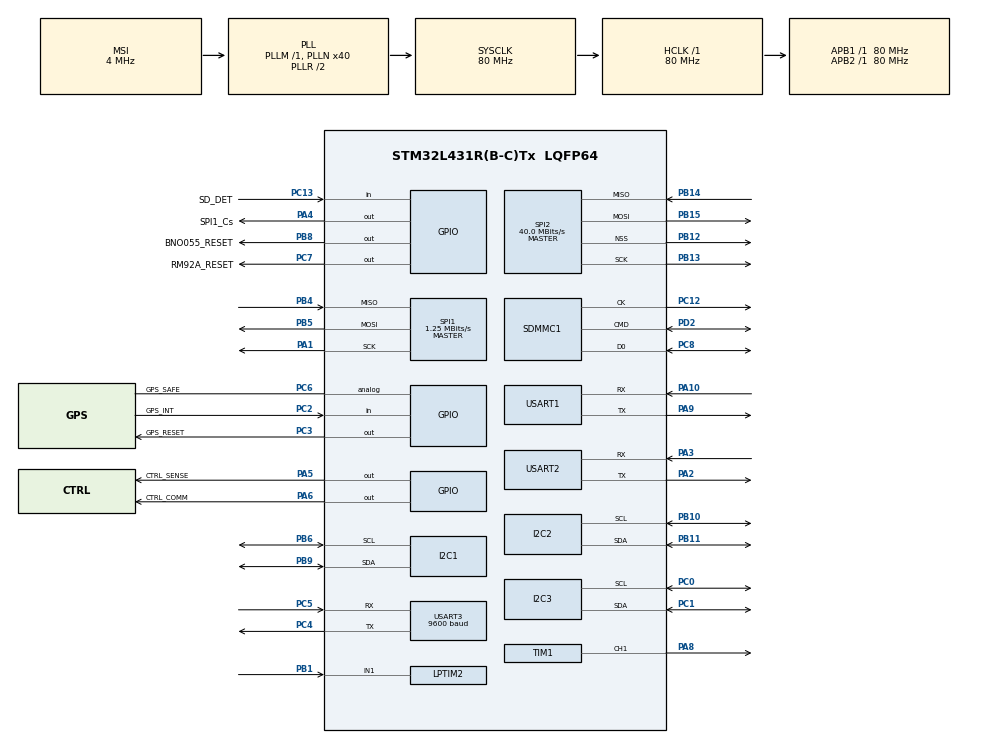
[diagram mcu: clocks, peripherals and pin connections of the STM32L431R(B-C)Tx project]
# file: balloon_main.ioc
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Dma.I2C1_RX.2.Direction=DMA_PERIPH_TO_MEMORY
Dma.I2C1_RX.2.Instance=DMA1_Channel7
Dma.I2C1_RX.2.MemDataAlignment=DMA_MDATAALIGN_BYTE
Dma.I2C1_RX.2.MemInc=DMA_MINC_ENABLE
Dma.I2C1_RX.2.Mode=DMA_NORMAL
Dma.I2C1_RX.2.PeriphDataAlignment=DMA_PDATAALIGN_BYTE
Dma.I2C1_RX.2.PeriphInc=DMA_PINC_DISABLE
Dma.I2C1_RX.2.Priority=DMA_PRIORITY_LOW
Dma.I2C1_TX.3.Direction=DMA_MEMORY_TO_PERIPH
Dma.I2C1_TX.3.Instance=DMA1_Channel6
Dma.I2C1_TX.3.MemDataAlignment=DMA_MDATAALIGN_BYTE
Dma.I2C1_TX.3.MemInc=DMA_MINC_ENABLE
Dma.I2C1_TX.3.Mode=DMA_NORMAL
Dma.I2C1_TX.3.PeriphDataAlignment=DMA_PDATAALIGN_BYTE
Dma.I2C1_TX.3.PeriphInc=DMA_PINC_DISABLE
Dma.I2C1_TX.3.Priority=DMA_PRIORITY_LOW
Dma.Request0=USART1_RX
Dma.Request1=USART1_TX
Dma.Request2=I2C1_RX
Dma.Request3=I2C1_TX
Dma.Request4=TIM1_CH1
Dma.Request5=USART3_RX
Dma.Request6=SDMMC1
Dma.SDMMC1.6.Direction=DMA_PERIPH_TO_MEMORY
Dma.SDMMC1.6.Instance=DMA2_Channel4
Dma.SDMMC1.6.MemDataAlignment=DMA_MDATAALIGN_WORD
Dma.SDMMC1.6.MemInc=DMA_MINC_ENABLE
Dma.SDMMC1.6.Mode=DMA_NORMAL
Dma.SDMMC1.6.PeriphDataAlignment=DMA_PDATAALIGN_WORD
Dma.SDMMC1.6.PeriphInc=DMA_PINC_DISABLE
Dma.SDMMC1.6.Priority=DMA_PRIORITY_HIGH
Dma.TIM1_CH1.4.Direction=DMA_PERIPH_TO_MEMORY
Dma.TIM1_CH1.4.Instance=DMA1_Channel2
Dma.TIM1_CH1.4.MemDataAlignment=DMA_MDATAALIGN_BYTE
Dma.TIM1_CH1.4.MemInc=DMA_MINC_ENABLE
Dma.TIM1_CH1.4.Mode=DMA_CIRCULAR
Dma.TIM1_CH1.4.PeriphDataAlignment=DMA_PDATAALIGN_HALFWORD
Dma.TIM1_CH1.4.PeriphInc=DMA_PINC_DISABLE
Dma.TIM1_CH1.4.Priority=DMA_PRIORITY_LOW
Dma.USART1_RX.0.Direction=DMA_PERIPH_TO_MEMORY
Dma.USART1_RX.0.Instance=DMA1_Channel5
Dma.USART1_RX.0.MemDataAlignment=DMA_MDATAALIGN_BYTE
Dma.USART1_RX.0.MemInc=DMA_MINC_ENABLE
Dma.USART1_RX.0.Mode=DMA_NORMAL
Dma.USART1_RX.0.PeriphDataAlignment=DMA_PDATAALIGN_BYTE
Dma.USART1_RX.0.PeriphInc=DMA_PINC_DISABLE
Dma.USART1_RX.0.Priority=DMA_PRIORITY_LOW
Dma.USART1_TX.1.Direction=DMA_MEMORY_TO_PERIPH
Dma.USART1_TX.1.Instance=DMA1_Channel4
Dma.USART1_TX.1.MemDataAlignment=DMA_MDATAALIGN_BYTE
Dma.USART1_TX.1.MemInc=DMA_MINC_ENABLE
Dma.USART1_TX.1.Mode=DMA_NORMAL
Dma.USART1_TX.1.PeriphDataAlignment=DMA_PDATAALIGN_BYTE
Dma.USART1_TX.1.PeriphInc=DMA_PINC_DISABLE
Dma.USART1_TX.1.Priority=DMA_PRIORITY_LOW
Dma.USART3_RX.5.Direction=DMA_PERIPH_TO_MEMORY
Dma.USART3_RX.5.Instance=DMA1_Channel3
Dma.USART3_RX.5.MemDataAlignment=DMA_MDATAALIGN_BYTE
Dma.USART3_RX.5.MemInc=DMA_MINC_ENABLE
Dma.USART3_RX.5.Mode=DMA_NORMAL
Dma.USART3_RX.5.PeriphDataAlignment=DMA_PDATAALIGN_BYTE
Dma.USART3_RX.5.PeriphInc=DMA_PINC_DISABLE
Dma.USART3_RX.5.Priority=DMA_PRIORITY_LOW
FATFS._CODE_PAGE=1
FATFS._FS_REENTRANT=0
FATFS._MAX_SS=4096
FATFS._MIN_SS=512
FATFS._USE_LFN=0
FATFS._USE_MUTEX=0
FREERTOS.HEAP_NUMBER=1
FREERTOS.Queues01=messageHandlerQueue1,64,uint8_t,0,Dynamic,NULL,NULL;messageHandlerQueue2,64,uint8_t,0,Dynamic,NULL,NULL;messageHandlerQueue3,64,uint8_t,0,Dynamic,NULL,NULL
FREERTOS.Tasks01=mainTask,24,128,StartMainTask,Default,NULL,Dynamic,NULL,NULL;saveFile,8,256,SaveFile,Default,NULL,Dynamic,NULL,NULL;downLink,8,128,DownLink,Default,NULL,Dynamic,NULL,NULL
FREERTOS.configCHECK_FOR_STACK_OVERFLOW=2
FREERTOS.configENABLE_FPU=1
FREERTOS.configTOTAL_HEAP_SIZE=8192
FREERTOS.configUSE_MALLOC_FAILED_HOOK=1
FREERTOS.configUSE_NEWLIB_REENTRANT=1
I2C1.Timing=0x10909CEC
I2C2.Timing=0x10909CEC
I2C3.Timing=0x10909CEC
Mcu.Family=STM32L4
Mcu.Name=STM32L431R(B-C)Tx
Mcu.Package=LQFP64
NVIC.DMA1_Channel2_IRQn=true\:5\:0\:false\:false\:true\:true\:false\:true\:true
NVIC.DMA1_Channel3_IRQn=true\:5\:0\:false\:false\:true\:true\:false\:true\:true
NVIC.DMA1_Channel4_IRQn=true\:5\:0\:false\:false\:true\:true\:false\:true\:true
NVIC.DMA1_Channel5_IRQn=true\:5\:0\:false\:false\:true\:true\:false\:true\:true
NVIC.DMA1_Channel6_IRQn=true\:5\:0\:false\:false\:true\:false\:false\:true\:true
NVIC.DMA1_Channel7_IRQn=true\:5\:0\:false\:false\:true\:false\:false\:true\:true
NVIC.DMA2_Channel4_IRQn=true\:5\:0\:false\:false\:true\:true\:false\:true\:true
NVIC.I2C1_ER_IRQn=true\:5\:0\:false\:false\:true\:true\:true\:true\:true
NVIC.PriorityGroup=NVIC_PRIORITYGROUP_4
NVIC.SDMMC1_IRQn=true\:5\:0\:true\:false\:true\:true\:true\:true\:true
NVIC.TIM6_DAC_IRQn=true\:15\:0\:false\:false\:true\:false\:false\:true\:true
NVIC.TimeBase=TIM6_DAC_IRQn
NVIC.TimeBaseIP=TIM6
NVIC.USART1_IRQn=true\:5\:0\:false\:false\:true\:true\:true\:true\:true
NVIC.USART2_IRQn=true\:5\:0\:false\:false\:true\:true\:true\:true\:true
NVIC.USART3_IRQn=true\:5\:0\:false\:false\:true\:true\:true\:true\:true
PA1.GPIO_PuPd=GPIO_PULLUP
PA1.Mode=Full_Duplex_Master
PA1.Signal=SPI1_SCK
PA10.Mode=Asynchronous
PA10.Signal=USART1_RX
PA11.Signal=USART1_CTS
PA12.Signal=USART1_RTS
PA13\ (JTMS-SWDIO).Mode=Trace_Asynchronous_SW
PA13\ (JTMS-SWDIO).Signal=SYS_JTMS-SWDIO
PA14\ (JTCK-SWCLK).Mode=Trace_Asynchronous_SW
PA14\ (JTCK-SWCLK).Signal=SYS_JTCK-SWCLK
PA2.Mode=Asynchronous
PA2.Signal=USART2_TX
PA3.Mode=Asynchronous
PA3.Signal=USART2_RX
PA4.GPIO_Label=SPI1_Cs
PA4.Signal=GPIO_Output
PA5.GPIO_Label=CTRL_SENSE
PA5.Signal=GPIO_Output
PA6.GPIO_Label=CTRL_COMM
PA6.Signal=GPIO_Output
PA8.GPIO_Speed=GPIO_SPEED_FREQ_HIGH
PA8.Signal=S_TIM1_CH1
PA9.Mode=Asynchronous
PA9.Signal=USART1_TX
PB1.Mode=Counts_external_clock_standalone_1X_occur1
PB1.Signal=LPTIM2_IN1
PB10.Mode=I2C
PB10.Signal=I2C2_SCL
PB11.Mode=I2C
PB11.Signal=I2C2_SDA
PB12.Mode=NSS_Signal_Hard_Output
PB12.Signal=SPI2_NSS
PB13.Mode=Full_Duplex_Master
PB13.Signal=SPI2_SCK
PB14.Mode=Full_Duplex_Master
PB14.Signal=SPI2_MISO
PB15.Mode=Full_Duplex_Master
PB15.Signal=SPI2_MOSI
PB3\ (JTDO-TRACESWO).Mode=Trace_Asynchronous_SW
PB3\ (JTDO-TRACESWO).Signal=SYS_JTDO-SWO
PB4\ (NJTRST).GPIO_PuPd=GPIO_PULLUP
PB4\ (NJTRST).Mode=Full_Duplex_Master
PB4\ (NJTRST).Signal=SPI1_MISO
PB5.GPIO_PuPd=GPIO_PULLUP
PB5.Mode=Full_Duplex_Master
PB5.Signal=SPI1_MOSI
PB6.Mode=I2C
PB6.Signal=I2C1_SCL
PB8.GPIO_Label=BNO055_RESET
PB8.Signal=GPIO_Output
PB9.Mode=I2C
PB9.Signal=I2C1_SDA
PC0.Mode=I2C
PC0.Signal=I2C3_SCL
PC1.Mode=I2C
PC1.Signal=I2C3_SDA
PC10.Signal=SDMMC1_D2
PC11.Signal=SDMMC1_D3
PC12.Mode=SD_1_bit
PC12.Signal=SDMMC1_CK
PC13.GPIO_Label=SD_DET
PC13.Signal=GPIO_Input
PC14-OSC32_IN\ (PC14).Signal=RCC_OSC32_IN
PC15-OSC32_OUT\ (PC15).Signal=RCC_OSC32_OUT
PC2.GPIO_Label=GPS_INT
PC2.Signal=GPIO_Input
PC3.GPIO_Label=GPS_RESET
PC3.Signal=GPIO_Output
PC4.Mode=Asynchronous
PC4.Signal=USART3_TX
PC5.Mode=Asynchronous
PC5.Signal=USART3_RX
PC6.GPIO_Label=GPS_SAFE
PC6.Signal=GPIO_Analog
PC7.GPIO_Label=RM92A_RESET
PC7.Signal=GPIO_Output
PC8.Mode=SD_1_bit
PC8.Signal=SDMMC1_D0
PC9.Signal=SDMMC1_D1
PD2.Mode=SD_1_bit
PD2.Signal=SDMMC1_CMD
ProjectManager.HeapSize=0x400
ProjectManager.StackSize=0x800
ProjectManager.TargetToolchain=STM32CubeIDE
RCC.ADCFreq_Value=32000000
RCC.AHBFreq_Value=80000000
RCC.APB1Freq_Value=80000000
RCC.APB1TimFreq_Value=80000000
RCC.APB2Freq_Value=80000000
RCC.APB2TimFreq_Value=80000000
RCC.CK48CLockSelection=RCC_USBCLKSOURCE_HSI48
RCC.CortexFreq_Value=80000000
RCC.HCLKFreq_Value=80000000
RCC.HSE_VALUE=8000000
RCC.HSI48_VALUE=48000000
RCC.HSI_VALUE=16000000
RCC.LPUART1CLockSelection=RCC_LPUART1CLKSOURCE_LSE
RCC.LSE_VALUE=32768
RCC.MSI_VALUE=4000000
RCC.PLLN=40
RCC.PLLSAI1N=16
RCC.SYSCLKFreq_VALUE=80000000
RCC.SYSCLKSource=RCC_SYSCLKSOURCE_PLLCLK
RCC.VCOOutputFreq_Value=160000000
RTC.Alarm-Alarm\ A=RTC_ALARM_A
SDMMC1.ClockDiv=128
SH.S_TIM1_CH1.0=TIM1_CH1,PWM Generation1 CH1
SPI1.BaudRatePrescaler=SPI_BAUDRATEPRESCALER_64
SPI1.CLKPhase=SPI_PHASE_2EDGE
SPI1.CLKPolarity=SPI_POLARITY_HIGH
SPI1.CalculateBaudRate=1.25 MBits/s
SPI1.DataSize=SPI_DATASIZE_8BIT
SPI1.Direction=SPI_DIRECTION_2LINES
SPI1.Mode=SPI_MODE_MASTER
SPI1.VirtualType=VM_MASTER
SPI2.CalculateBaudRate=40.0 MBits/s
SPI2.Direction=SPI_DIRECTION_2LINES
SPI2.Mode=SPI_MODE_MASTER
SPI2.VirtualNSS=VM_NSSHARD
SPI2.VirtualType=VM_MASTER
TIM1.AutoReloadPreload=TIM_AUTORELOAD_PRELOAD_ENABLE
TIM1.Channel-PWM\ Generation1\ CH1=TIM_CHANNEL_1
TIM1.OCFastMode_PWM-PWM\ Generation1\ CH1=TIM_OCFAST_ENABLE
TIM1.Period=32
TIM1.Prescaler=2
TIM1.TIM_MasterOutputTrigger=TIM_TRGO_OC1REF
TIM1.TIM_MasterSlaveMode=TIM_MASTERSLAVEMODE_ENABLE
USART1.VirtualMode-Asynchronous=VM_ASYNC
USART2.VirtualMode-Asynchronous=VM_ASYNC
USART3.AutoBaudRateEnableParam=UART_ADVFEATURE_AUTOBAUDRATE_DISABLE
USART3.BaudRate=9600
USART3.VirtualMode-Asynchronous=VM_ASYNC
VP_CRC_VS_CRC.Mode=CRC_Activate
VP_FATFS_VS_SDIO.Mode=SDIO
VP_FREERTOS_VS_CMSIS_V2.Mode=CMSIS_V2
VP_RTC_VS_RTC_Activate.Mode=RTC_Enabled
VP_RTC_VS_RTC_Alarm_A_Intern.Mode=Alarm A
VP_RTC_VS_RTC_Calendar.Mode=RTC_Calendar
VP_SYS_VS_tim6.Mode=TIM6
VP_TIM1_VS_ClockSourceINT.Mode=Internal
board=custom

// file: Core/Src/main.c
/* USER CODE BEGIN Header */
/**
  ******************************************************************************
  * @file           : main.c
  * @brief          : Main program body
  ******************************************************************************
  * @attention
  *
  * Copyright (c) 2024 STMicroelectronics.
  * All rights reserved.
  *
  * This software is licensed under terms that can be found in the LICENSE file
  * in the root directory of this software component.
  * If no LICENSE file comes with this software, it is provided AS-IS.
  *
  ******************************************************************************
  */
/* USER CODE END Header */
#include "main.h"
#include "cmsis_os.h"
#include "fatfs.h"

/* USER CODE BEGIN Includes */
#include <stdio.h>
#include "neopixel/ARGB.h"
#include "sd/sd.h"
#include "power/power.h"
#include "queue.h"
#include "gnss/gnss.h"
#include "misc.h"
#include "env/env.h"
#include "lora/lora.h"
/* USER CODE END Includes */

/* USER CODE BEGIN PD */
#define SDMMC_DATATIMEOUT 5000
/* USER CODE END PD */

CRC_HandleTypeDef hcrc;

I2C_HandleTypeDef hi2c1;
I2C_HandleTypeDef hi2c2;
I2C_HandleTypeDef hi2c3;
DMA_HandleTypeDef hdma_i2c1_rx;
DMA_HandleTypeDef hdma_i2c1_tx;

LPTIM_HandleTypeDef hlptim2;

RTC_HandleTypeDef hrtc;

SD_HandleTypeDef hsd1;
DMA_HandleTypeDef hdma_sdmmc1;

SPI_HandleTypeDef hspi1;
SPI_HandleTypeDef hspi2;

TIM_HandleTypeDef htim1;
DMA_HandleTypeDef hdma_tim1_ch1;

UART_HandleTypeDef huart1;
UART_HandleTypeDef huart2;
UART_HandleTypeDef huart3;
DMA_HandleTypeDef hdma_usart1_rx;
DMA_HandleTypeDef hdma_usart1_tx;
DMA_HandleTypeDef hdma_usart3_rx;

/* Definitions for mainTask */
osThreadId_t mainTaskHandle;
const osThreadAttr_t mainTask_attributes = {
  .name = "mainTask",
  .stack_size = 128 * 4,
  .priority = (osPriority_t) osPriorityNormal,
};
/* Definitions for saveFile */
osThreadId_t saveFileHandle;
const osThreadAttr_t saveFile_attributes = {
  .name = "saveFile",
  .stack_size = 256 * 4,
  .priority = (osPriority_t) osPriorityLow,
};
/* Definitions for downLink */
osThreadId_t downLinkHandle;
const osThreadAttr_t downLink_attributes = {
  .name = "downLink",
  .stack_size = 128 * 4,
  .priority = (osPriority_t) osPriorityLow,
};
/* Definitions for messageHandlerQueue1 */
osMessageQueueId_t messageHandlerQueue1Handle;
const osMessageQueueAttr_t messageHandlerQueue1_attributes = {
  .name = "messageHandlerQueue1"
};
/* Definitions for messageHandlerQueue2 */
osMessageQueueId_t messageHandlerQueue2Handle;
const osMessageQueueAttr_t messageHandlerQueue2_attributes = {
  .name = "messageHandlerQueue2"
};
/* Definitions for messageHandlerQueue3 */
osMessageQueueId_t messageHandlerQueue3Handle;
const osMessageQueueAttr_t messageHandlerQueue3_attributes = {
  .name = "messageHandlerQueue3"
};
/* USER CODE BEGIN PV */
uint8_t byte_uart_1;
uint8_t byte_uart_2;
uint8_t byte_uart_3;
extern gnss_data_t gnss_data;
extern env_data_t env_data;
/* USER CODE END PV */

void SystemClock_Config(void);
static void MX_GPIO_Init(void);
static void MX_DMA_Init(void);
static void MX_I2C1_Init(void);
static void MX_USART1_UART_Init(void);
static void MX_RTC_Init(void);
static void MX_SDMMC1_SD_Init(void);
static void MX_CRC_Init(void);
static void MX_LPTIM2_Init(void);
static void MX_I2C2_Init(void);
static void MX_I2C3_Init(void);
static void MX_SPI1_Init(void);
static void MX_SPI2_Init(void);
static void MX_TIM1_Init(void);
static void MX_USART3_UART_Init(void);
static void MX_USART2_UART_Init(void);
void StartMainTask(void *argument);
void SaveFile(void *argument);
void DownLink(void *argument);

int main(void)
{

  /* USER CODE BEGIN 1 */
	///setbuf(stdout, NULL);

  /* USER CODE END 1 */

  /* MCU Configuration--------------------------------------------------------*/

  /* Reset of all peripherals, Initializes the Flash interface and the Systick. */
  HAL_Init();

  /* Configure the system clock */
  SystemClock_Config();

  /* Initialize all configured peripherals */
  MX_GPIO_Init();
  MX_DMA_Init();
  MX_I2C1_Init();
  MX_USART1_UART_Init();
  MX_RTC_Init();
  MX_SDMMC1_SD_Init();
  MX_CRC_Init();
  MX_LPTIM2_Init();
  MX_I2C2_Init();
  MX_I2C3_Init();
  MX_SPI1_Init();
  MX_SPI2_Init();
  MX_TIM1_Init();
  MX_FATFS_Init();
  MX_USART3_UART_Init();
  MX_USART2_UART_Init();
  /* USER CODE BEGIN 2 */
  ARGB_Init();  // Initialization
  ARGB_FillRGB(200, 0, 0);
  while (!ARGB_Show());
  reset_sense_power();

  HAL_GPIO_WritePin(GPS_RESET_GPIO_Port, GPS_RESET_Pin, GPIO_PIN_SET);
  printf("Hello World!!\r\n");
  /* USER CODE END 2 */

  /* Init scheduler */
  osKernelInitialize();

  /* Create the queue(s) */
  /* creation of messageHandlerQueue1 */
  messageHandlerQueue1Handle = osMessageQueueNew (64, sizeof(uint8_t), &messageHandlerQueue1_attributes);

  /* creation of messageHandlerQueue2 */
  messageHandlerQueue2Handle = osMessageQueueNew (64, sizeof(uint8_t), &messageHandlerQueue2_attributes);

  /* creation of messageHandlerQueue3 */
  messageHandlerQueue3Handle = osMessageQueueNew (64, sizeof(uint8_t), &messageHandlerQueue3_attributes);

  /* Create the thread(s) */
  /* creation of mainTask */
  mainTaskHandle = osThreadNew(StartMainTask, NULL, &mainTask_attributes);

  /* creation of saveFile */
  saveFileHandle = osThreadNew(SaveFile, NULL, &saveFile_attributes);

  /* creation of downLink */
  downLinkHandle = osThreadNew(DownLink, NULL, &downLink_attributes);

  /* Start scheduler */
  osKernelStart();

  /* We should never get here as control is now taken by the scheduler */

  /* Infinite loop */
  while (1)
  {

  }
}

void SystemClock_Config(void)
{
  RCC_OscInitTypeDef RCC_OscInitStruct = {0};
  RCC_ClkInitTypeDef RCC_ClkInitStruct = {0};

  /** Configure the main internal regulator output voltage
  */
  if (HAL_PWREx_ControlVoltageScaling(PWR_REGULATOR_VOLTAGE_SCALE1) != HAL_OK)
  {
    Error_Handler();
  }

  /** Initializes the RCC Oscillators according to the specified parameters
  * in the RCC_OscInitTypeDef structure.
  */
  RCC_OscInitStruct.OscillatorType = RCC_OSCILLATORTYPE_HSI48|RCC_OSCILLATORTYPE_LSI
                              |RCC_OSCILLATORTYPE_MSI;
  RCC_OscInitStruct.HSI48State = RCC_HSI48_ON;
  RCC_OscInitStruct.LSIState = RCC_LSI_ON;
  RCC_OscInitStruct.MSIState = RCC_MSI_ON;
  RCC_OscInitStruct.MSICalibrationValue = 0;
  RCC_OscInitStruct.MSIClockRange = RCC_MSIRANGE_6;
  RCC_OscInitStruct.PLL.PLLState = RCC_PLL_ON;
  RCC_OscInitStruct.PLL.PLLSource = RCC_PLLSOURCE_MSI;
  RCC_OscInitStruct.PLL.PLLM = 1;
  RCC_OscInitStruct.PLL.PLLN = 40;
  RCC_OscInitStruct.PLL.PLLP = RCC_PLLP_DIV7;
  RCC_OscInitStruct.PLL.PLLQ = RCC_PLLQ_DIV2;
  RCC_OscInitStruct.PLL.PLLR = RCC_PLLR_DIV2;
  if (HAL_RCC_OscConfig(&RCC_OscInitStruct) != HAL_OK)
  {
    Error_Handler();
  }

  /** Initializes the CPU, AHB and APB buses clocks
  */
  RCC_ClkInitStruct.ClockType = RCC_CLOCKTYPE_HCLK|RCC_CLOCKTYPE_SYSCLK
                              |RCC_CLOCKTYPE_PCLK1|RCC_CLOCKTYPE_PCLK2;
  RCC_ClkInitStruct.SYSCLKSource = RCC_SYSCLKSOURCE_PLLCLK;
  RCC_ClkInitStruct.AHBCLKDivider = RCC_SYSCLK_DIV1;
  RCC_ClkInitStruct.APB1CLKDivider = RCC_HCLK_DIV1;
  RCC_ClkInitStruct.APB2CLKDivider = RCC_HCLK_DIV1;

  if (HAL_RCC_ClockConfig(&RCC_ClkInitStruct, FLASH_LATENCY_4) != HAL_OK)
  {
    Error_Handler();
  }
}

static void MX_CRC_Init(void)
{

  hcrc.Instance = CRC;
  hcrc.Init.DefaultPolynomialUse = DEFAULT_POLYNOMIAL_ENABLE;
  hcrc.Init.DefaultInitValueUse = DEFAULT_INIT_VALUE_ENABLE;
  hcrc.Init.InputDataInversionMode = CRC_INPUTDATA_INVERSION_NONE;
  hcrc.Init.OutputDataInversionMode = CRC_OUTPUTDATA_INVERSION_DISABLE;
  hcrc.InputDataFormat = CRC_INPUTDATA_FORMAT_BYTES;
  if (HAL_CRC_Init(&hcrc) != HAL_OK)
  {
    Error_Handler();
  }

}

static void MX_I2C1_Init(void)
{

  hi2c1.Instance = I2C1;
  hi2c1.Init.Timing = 0x10909CEC;
  hi2c1.Init.OwnAddress1 = 0;
  hi2c1.Init.AddressingMode = I2C_ADDRESSINGMODE_7BIT;
  hi2c1.Init.DualAddressMode = I2C_DUALADDRESS_DISABLE;
  hi2c1.Init.OwnAddress2 = 0;
  hi2c1.Init.OwnAddress2Masks = I2C_OA2_NOMASK;
  hi2c1.Init.GeneralCallMode = I2C_GENERALCALL_DISABLE;
  hi2c1.Init.NoStretchMode = I2C_NOSTRETCH_DISABLE;
  if (HAL_I2C_Init(&hi2c1) != HAL_OK)
  {
    Error_Handler();
  }

  /** Configure Analogue filter
  */
  if (HAL_I2CEx_ConfigAnalogFilter(&hi2c1, I2C_ANALOGFILTER_ENABLE) != HAL_OK)
  {
    Error_Handler();
  }

  /** Configure Digital filter
  */
  if (HAL_I2CEx_ConfigDigitalFilter(&hi2c1, 0) != HAL_OK)
  {
    Error_Handler();
  }

}

static void MX_I2C2_Init(void)
{

  hi2c2.Instance = I2C2;
  hi2c2.Init.Timing = 0x10909CEC;
  hi2c2.Init.OwnAddress1 = 0;
  hi2c2.Init.AddressingMode = I2C_ADDRESSINGMODE_7BIT;
  hi2c2.Init.DualAddressMode = I2C_DUALADDRESS_DISABLE;
  hi2c2.Init.OwnAddress2 = 0;
  hi2c2.Init.OwnAddress2Masks = I2C_OA2_NOMASK;
  hi2c2.Init.GeneralCallMode = I2C_GENERALCALL_DISABLE;
  hi2c2.Init.NoStretchMode = I2C_NOSTRETCH_DISABLE;
  if (HAL_I2C_Init(&hi2c2) != HAL_OK)
  {
    Error_Handler();
  }

  /** Configure Analogue filter
  */
  if (HAL_I2CEx_ConfigAnalogFilter(&hi2c2, I2C_ANALOGFILTER_ENABLE) != HAL_OK)
  {
    Error_Handler();
  }

  /** Configure Digital filter
  */
  if (HAL_I2CEx_ConfigDigitalFilter(&hi2c2, 0) != HAL_OK)
  {
    Error_Handler();
  }

}

static void MX_I2C3_Init(void)
{

  hi2c3.Instance = I2C3;
  hi2c3.Init.Timing = 0x10909CEC;
  hi2c3.Init.OwnAddress1 = 0;
  hi2c3.Init.AddressingMode = I2C_ADDRESSINGMODE_7BIT;
  hi2c3.Init.DualAddressMode = I2C_DUALADDRESS_DISABLE;
  hi2c3.Init.OwnAddress2 = 0;
  hi2c3.Init.OwnAddress2Masks = I2C_OA2_NOMASK;
  hi2c3.Init.GeneralCallMode = I2C_GENERALCALL_DISABLE;
  hi2c3.Init.NoStretchMode = I2C_NOSTRETCH_DISABLE;
  if (HAL_I2C_Init(&hi2c3) != HAL_OK)
  {
    Error_Handler();
  }

  /** Configure Analogue filter
  */
  if (HAL_I2CEx_ConfigAnalogFilter(&hi2c3, I2C_ANALOGFILTER_ENABLE) != HAL_OK)
  {
    Error_Handler();
  }

  /** Configure Digital filter
  */
  if (HAL_I2CEx_ConfigDigitalFilter(&hi2c3, 0) != HAL_OK)
  {
    Error_Handler();
  }

}

static void MX_LPTIM2_Init(void)
{

  hlptim2.Instance = LPTIM2;
  hlptim2.Init.Clock.Source = LPTIM_CLOCKSOURCE_ULPTIM;
  hlptim2.Init.Clock.Prescaler = LPTIM_PRESCALER_DIV1;
  hlptim2.Init.UltraLowPowerClock.Polarity = LPTIM_CLOCKPOLARITY_RISING;
  hlptim2.Init.UltraLowPowerClock.SampleTime = LPTIM_CLOCKSAMPLETIME_DIRECTTRANSITION;
  hlptim2.Init.Trigger.Source = LPTIM_TRIGSOURCE_SOFTWARE;
  hlptim2.Init.OutputPolarity = LPTIM_OUTPUTPOLARITY_HIGH;
  hlptim2.Init.UpdateMode = LPTIM_UPDATE_IMMEDIATE;
  hlptim2.Init.CounterSource = LPTIM_COUNTERSOURCE_EXTERNAL;
  hlptim2.Init.Input1Source = LPTIM_INPUT1SOURCE_GPIO;
  hlptim2.Init.Input2Source = LPTIM_INPUT2SOURCE_GPIO;
  if (HAL_LPTIM_Init(&hlptim2) != HAL_OK)
  {
    Error_Handler();
  }

}

static void MX_RTC_Init(void)
{

  RTC_TimeTypeDef sTime = {0};
  RTC_DateTypeDef sDate = {0};
  RTC_AlarmTypeDef sAlarm = {0};

  /** Initialize RTC Only
  */
  hrtc.Instance = RTC;
  hrtc.Init.HourFormat = RTC_HOURFORMAT_24;
  hrtc.Init.AsynchPrediv = 127;
  hrtc.Init.SynchPrediv = 255;
  hrtc.Init.OutPut = RTC_OUTPUT_DISABLE;
  hrtc.Init.OutPutRemap = RTC_OUTPUT_REMAP_NONE;
  hrtc.Init.OutPutPolarity = RTC_OUTPUT_POLARITY_HIGH;
  hrtc.Init.OutPutType = RTC_OUTPUT_TYPE_OPENDRAIN;
  if (HAL_RTC_Init(&hrtc) != HAL_OK)
  {
    Error_Handler();
  }

  /** Initialize RTC and set the Time and Date
  */
  sTime.Hours = 0x0;
  sTime.Minutes = 0x0;
  sTime.Seconds = 0x0;
  sTime.DayLightSaving = RTC_DAYLIGHTSAVING_NONE;
  sTime.StoreOperation = RTC_STOREOPERATION_RESET;
  if (HAL_RTC_SetTime(&hrtc, &sTime, RTC_FORMAT_BCD) != HAL_OK)
  {
    Error_Handler();
  }
  sDate.WeekDay = RTC_WEEKDAY_MONDAY;
  sDate.Month = RTC_MONTH_JANUARY;
  sDate.Date = 0x1;
  sDate.Year = 0x0;

  if (HAL_RTC_SetDate(&hrtc, &sDate, RTC_FORMAT_BCD) != HAL_OK)
  {
    Error_Handler();
  }

  /** Enable the Alarm A
  */
  sAlarm.AlarmTime.Hours = 0x0;
  sAlarm.AlarmTime.Minutes = 0x0;
  sAlarm.AlarmTime.Seconds = 0x0;
  sAlarm.AlarmTime.SubSeconds = 0x0;
  sAlarm.AlarmTime.DayLightSaving = RTC_DAYLIGHTSAVING_NONE;
  sAlarm.AlarmTime.StoreOperation = RTC_STOREOPERATION_RESET;
  sAlarm.AlarmMask = RTC_ALARMMASK_NONE;
  sAlarm.AlarmSubSecondMask = RTC_ALARMSUBSECONDMASK_ALL;
  sAlarm.AlarmDateWeekDaySel = RTC_ALARMDATEWEEKDAYSEL_DATE;
  sAlarm.AlarmDateWeekDay = 0x1;
  sAlarm.Alarm = RTC_ALARM_A;
  if (HAL_RTC_SetAlarm(&hrtc, &sAlarm, RTC_FORMAT_BCD) != HAL_OK)
  {
    Error_Handler();
  }

}

static void MX_SDMMC1_SD_Init(void)
{

  hsd1.Instance = SDMMC1;
  hsd1.Init.ClockEdge = SDMMC_CLOCK_EDGE_RISING;
  hsd1.Init.ClockBypass = SDMMC_CLOCK_BYPASS_DISABLE;
  hsd1.Init.ClockPowerSave = SDMMC_CLOCK_POWER_SAVE_DISABLE;
  hsd1.Init.BusWide = SDMMC_BUS_WIDE_1B;
  hsd1.Init.HardwareFlowControl = SDMMC_HARDWARE_FLOW_CONTROL_DISABLE;
  hsd1.Init.ClockDiv = 128;

}

static void MX_SPI1_Init(void)
{

  /* SPI1 parameter configuration*/
  hspi1.Instance = SPI1;
  hspi1.Init.Mode = SPI_MODE_MASTER;
  hspi1.Init.Direction = SPI_DIRECTION_2LINES;
  hspi1.Init.DataSize = SPI_DATASIZE_8BIT;
  hspi1.Init.CLKPolarity = SPI_POLARITY_HIGH;
  hspi1.Init.CLKPhase = SPI_PHASE_2EDGE;
  hspi1.Init.NSS = SPI_NSS_SOFT;
  hspi1.Init.BaudRatePrescaler = SPI_BAUDRATEPRESCALER_64;
  hspi1.Init.FirstBit = SPI_FIRSTBIT_MSB;
  hspi1.Init.TIMode = SPI_TIMODE_DISABLE;
  hspi1.Init.CRCCalculation = SPI_CRCCALCULATION_DISABLE;
  hspi1.Init.CRCPolynomial = 7;
  hspi1.Init.CRCLength = SPI_CRC_LENGTH_DATASIZE;
  hspi1.Init.NSSPMode = SPI_NSS_PULSE_DISABLE;
  if (HAL_SPI_Init(&hspi1) != HAL_OK)
  {
    Error_Handler();
  }

}

static void MX_SPI2_Init(void)
{

  /* SPI2 parameter configuration*/
  hspi2.Instance = SPI2;
  hspi2.Init.Mode = SPI_MODE_MASTER;
  hspi2.Init.Direction = SPI_DIRECTION_2LINES;
  hspi2.Init.DataSize = SPI_DATASIZE_4BIT;
  hspi2.Init.CLKPolarity = SPI_POLARITY_LOW;
  hspi2.Init.CLKPhase = SPI_PHASE_1EDGE;
  hspi2.Init.NSS = SPI_NSS_HARD_OUTPUT;
  hspi2.Init.BaudRatePrescaler = SPI_BAUDRATEPRESCALER_2;
  hspi2.Init.FirstBit = SPI_FIRSTBIT_MSB;
  hspi2.Init.TIMode = SPI_TIMODE_DISABLE;
  hspi2.Init.CRCCalculation = SPI_CRCCALCULATION_DISABLE;
  hspi2.Init.CRCPolynomial = 7;
  hspi2.Init.CRCLength = SPI_CRC_LENGTH_DATASIZE;
  hspi2.Init.NSSPMode = SPI_NSS_PULSE_ENABLE;
  if (HAL_SPI_Init(&hspi2) != HAL_OK)
  {
    Error_Handler();
  }

}

static void MX_TIM1_Init(void)
{

  TIM_ClockConfigTypeDef sClockSourceConfig = {0};
  TIM_MasterConfigTypeDef sMasterConfig = {0};
  TIM_OC_InitTypeDef sConfigOC = {0};
  TIM_BreakDeadTimeConfigTypeDef sBreakDeadTimeConfig = {0};

  htim1.Instance = TIM1;
  htim1.Init.Prescaler = 2;
  htim1.Init.CounterMode = TIM_COUNTERMODE_UP;
  htim1.Init.Period = 32;
  htim1.Init.ClockDivision = TIM_CLOCKDIVISION_DIV1;
  htim1.Init.RepetitionCounter = 0;
  htim1.Init.AutoReloadPreload = TIM_AUTORELOAD_PRELOAD_ENABLE;
  if (HAL_TIM_Base_Init(&htim1) != HAL_OK)
  {
    Error_Handler();
  }
  sClockSourceConfig.ClockSource = TIM_CLOCKSOURCE_INTERNAL;
  if (HAL_TIM_ConfigClockSource(&htim1, &sClockSourceConfig) != HAL_OK)
  {
    Error_Handler();
  }
  if (HAL_TIM_PWM_Init(&htim1) != HAL_OK)
  {
    Error_Handler();
  }
  sMasterConfig.MasterOutputTrigger = TIM_TRGO_OC1REF;
  sMasterConfig.MasterOutputTrigger2 = TIM_TRGO2_RESET;
  sMasterConfig.MasterSlaveMode = TIM_MASTERSLAVEMODE_ENABLE;
  if (HAL_TIMEx_MasterConfigSynchronization(&htim1, &sMasterConfig) != HAL_OK)
  {
    Error_Handler();
  }
  sConfigOC.OCMode = TIM_OCMODE_PWM1;
  sConfigOC.Pulse = 0;
  sConfigOC.OCPolarity = TIM_OCPOLARITY_HIGH;
  sConfigOC.OCNPolarity = TIM_OCNPOLARITY_HIGH;
  sConfigOC.OCFastMode = TIM_OCFAST_ENABLE;
  sConfigOC.OCIdleState = TIM_OCIDLESTATE_RESET;
  sConfigOC.OCNIdleState = TIM_OCNIDLESTATE_RESET;
  if (HAL_TIM_PWM_ConfigChannel(&htim1, &sConfigOC, TIM_CHANNEL_1) != HAL_OK)
  {
    Error_Handler();
  }
  sBreakDeadTimeConfig.OffStateRunMode = TIM_OSSR_DISABLE;
  sBreakDeadTimeConfig.OffStateIDLEMode = TIM_OSSI_DISABLE;
  sBreakDeadTimeConfig.LockLevel = TIM_LOCKLEVEL_OFF;
  sBreakDeadTimeConfig.DeadTime = 0;
  sBreakDeadTimeConfig.BreakState = TIM_BREAK_DISABLE;
  sBreakDeadTimeConfig.BreakPolarity = TIM_BREAKPOLARITY_HIGH;
  sBreakDeadTimeConfig.BreakFilter = 0;
  sBreakDeadTimeConfig.Break2State = TIM_BREAK2_DISABLE;
  sBreakDeadTimeConfig.Break2Polarity = TIM_BREAK2POLARITY_HIGH;
  sBreakDeadTimeConfig.Break2Filter = 0;
  sBreakDeadTimeConfig.AutomaticOutput = TIM_AUTOMATICOUTPUT_DISABLE;
  if (HAL_TIMEx_ConfigBreakDeadTime(&htim1, &sBreakDeadTimeConfig) != HAL_OK)
  {
    Error_Handler();
  }
  HAL_TIM_MspPostInit(&htim1);

}

static void MX_USART1_UART_Init(void)
{

  huart1.Instance = USART1;
  huart1.Init.BaudRate = 115200;
  huart1.Init.WordLength = UART_WORDLENGTH_8B;
  huart1.Init.StopBits = UART_STOPBITS_1;
  huart1.Init.Parity = UART_PARITY_NONE;
  huart1.Init.Mode = UART_MODE_TX_RX;
  huart1.Init.HwFlowCtl = UART_HWCONTROL_NONE;
  huart1.Init.OverSampling = UART_OVERSAMPLING_16;
  huart1.Init.OneBitSampling = UART_ONE_BIT_SAMPLE_DISABLE;
  huart1.AdvancedInit.AdvFeatureInit = UART_ADVFEATURE_NO_INIT;
  if (HAL_UART_Init(&huart1) != HAL_OK)
  {
    Error_Handler();
  }

}

static void MX_USART2_UART_Init(void)
{

  huart2.Instance = USART2;
  huart2.Init.BaudRate = 115200;
  huart2.Init.WordLength = UART_WORDLENGTH_8B;
  huart2.Init.StopBits = UART_STOPBITS_1;
  huart2.Init.Parity = UART_PARITY_NONE;
  huart2.Init.Mode = UART_MODE_TX_RX;
  huart2.Init.HwFlowCtl = UART_HWCONTROL_NONE;
  huart2.Init.OverSampling = UART_OVERSAMPLING_16;
  huart2.Init.OneBitSampling = UART_ONE_BIT_SAMPLE_DISABLE;
  huart2.AdvancedInit.AdvFeatureInit = UART_ADVFEATURE_NO_INIT;
  if (HAL_UART_Init(&huart2) != HAL_OK)
  {
    Error_Handler();
  }

}

static void MX_USART3_UART_Init(void)
{

  huart3.Instance = USART3;
  huart3.Init.BaudRate = 9600;
  huart3.Init.WordLength = UART_WORDLENGTH_8B;
  huart3.Init.StopBits = UART_STOPBITS_1;
  huart3.Init.Parity = UART_PARITY_NONE;
  huart3.Init.Mode = UART_MODE_TX_RX;
  huart3.Init.HwFlowCtl = UART_HWCONTROL_NONE;
  huart3.Init.OverSampling = UART_OVERSAMPLING_16;
  huart3.Init.OneBitSampling = UART_ONE_BIT_SAMPLE_DISABLE;
  huart3.AdvancedInit.AdvFeatureInit = UART_ADVFEATURE_NO_INIT;
  if (HAL_UART_Init(&huart3) != HAL_OK)
  {
    Error_Handler();
  }

}

static void MX_DMA_Init(void)
{

  /* DMA controller clock enable */
  __HAL_RCC_DMA1_CLK_ENABLE();
  __HAL_RCC_DMA2_CLK_ENABLE();

  /* DMA interrupt init */
  /* DMA1_Channel2_IRQn interrupt configuration */
  HAL_NVIC_SetPriority(DMA1_Channel2_IRQn, 5, 0);
  HAL_NVIC_EnableIRQ(DMA1_Channel2_IRQn);
  /* DMA1_Channel3_IRQn interrupt configuration */
  HAL_NVIC_SetPriority(DMA1_Channel3_IRQn, 5, 0);
  HAL_NVIC_EnableIRQ(DMA1_Channel3_IRQn);
  /* DMA1_Channel4_IRQn interrupt configuration */
  HAL_NVIC_SetPriority(DMA1_Channel4_IRQn, 5, 0);
  HAL_NVIC_EnableIRQ(DMA1_Channel4_IRQn);
  /* DMA1_Channel5_IRQn interrupt configuration */
  HAL_NVIC_SetPriority(DMA1_Channel5_IRQn, 5, 0);
  HAL_NVIC_EnableIRQ(DMA1_Channel5_IRQn);
  /* DMA1_Channel6_IRQn interrupt configuration */
  HAL_NVIC_SetPriority(DMA1_Channel6_IRQn, 5, 0);
  HAL_NVIC_EnableIRQ(DMA1_Channel6_IRQn);
  /* DMA1_Channel7_IRQn interrupt configuration */
  HAL_NVIC_SetPriority(DMA1_Channel7_IRQn, 5, 0);
  HAL_NVIC_EnableIRQ(DMA1_Channel7_IRQn);
  /* DMA2_Channel4_IRQn interrupt configuration */
  HAL_NVIC_SetPriority(DMA2_Channel4_IRQn, 5, 0);
  HAL_NVIC_EnableIRQ(DMA2_Channel4_IRQn);

}

static void MX_GPIO_Init(void)
{
  GPIO_InitTypeDef GPIO_InitStruct = {0};

  /* GPIO Ports Clock Enable */
  __HAL_RCC_GPIOC_CLK_ENABLE();
  __HAL_RCC_GPIOA_CLK_ENABLE();
  __HAL_RCC_GPIOB_CLK_ENABLE();
  __HAL_RCC_GPIOD_CLK_ENABLE();

  /*Configure GPIO pin Output Level */
  HAL_GPIO_WritePin(GPIOC, GPS_RESET_Pin|RM92A_RESET_Pin, GPIO_PIN_RESET);

  /*Configure GPIO pin Output Level */
  HAL_GPIO_WritePin(GPIOA, SPI1_Cs_Pin|CTRL_SENSE_Pin|CTRL_COMM_Pin, GPIO_PIN_RESET);

  /*Configure GPIO pin Output Level */
  HAL_GPIO_WritePin(BNO055_RESET_GPIO_Port, BNO055_RESET_Pin, GPIO_PIN_RESET);

  /*Configure GPIO pins : SD_DET_Pin GPS_INT_Pin */
  GPIO_InitStruct.Pin = SD_DET_Pin|GPS_INT_Pin;
  GPIO_InitStruct.Mode = GPIO_MODE_INPUT;
  GPIO_InitStruct.Pull = GPIO_NOPULL;
  HAL_GPIO_Init(GPIOC, &GPIO_InitStruct);

  /*Configure GPIO pins : GPS_RESET_Pin RM92A_RESET_Pin */
  GPIO_InitStruct.Pin = GPS_RESET_Pin|RM92A_RESET_Pin;
  GPIO_InitStruct.Mode = GPIO_MODE_OUTPUT_PP;
  GPIO_InitStruct.Pull = GPIO_NOPULL;
  GPIO_InitStruct.Speed = GPIO_SPEED_FREQ_LOW;
  HAL_GPIO_Init(GPIOC, &GPIO_InitStruct);

  /*Configure GPIO pins : SPI1_Cs_Pin CTRL_SENSE_Pin CTRL_COMM_Pin */
  GPIO_InitStruct.Pin = SPI1_Cs_Pin|CTRL_SENSE_Pin|CTRL_COMM_Pin;
  GPIO_InitStruct.Mode = GPIO_MODE_OUTPUT_PP;
  GPIO_InitStruct.Pull = GPIO_NOPULL;
  GPIO_InitStruct.Speed = GPIO_SPEED_FREQ_LOW;
  HAL_GPIO_Init(GPIOA, &GPIO_InitStruct);

  /*Configure GPIO pin : GPS_SAFE_Pin */
  GPIO_InitStruct.Pin = GPS_SAFE_Pin;
  GPIO_InitStruct.Mode = GPIO_MODE_ANALOG;
  GPIO_InitStruct.Pull = GPIO_NOPULL;
  HAL_GPIO_Init(GPS_SAFE_GPIO_Port, &GPIO_InitStruct);

  /*Configure GPIO pin : BNO055_RESET_Pin */
  GPIO_InitStruct.Pin = BNO055_RESET_Pin;
  GPIO_InitStruct.Mode = GPIO_MODE_OUTPUT_PP;
  GPIO_InitStruct.Pull = GPIO_NOPULL;
  GPIO_InitStruct.Speed = GPIO_SPEED_FREQ_LOW;
  HAL_GPIO_Init(BNO055_RESET_GPIO_Port, &GPIO_InitStruct);

}

/* USER CODE BEGIN 4 */
int _write(int file, char *ptr, int len)
{
  int DataIdx;
  for(DataIdx=0; DataIdx<len; DataIdx++)
  {
    ITM_SendChar(*ptr++);
  }
  return len;
}
void HAL_Delay(uint32_t Delay)
{
    osDelay(Delay);
}
void HAL_UART_RxCpltCallback(UART_HandleTypeDef *huart)
{
	BaseType_t xHigherPriorityTaskWoken = pdFALSE;
	if (huart->Instance == USART1)
	{
		printf("%c", byte_uart_1);
		xQueueSendToBackFromISR(messageHandlerQueue1Handle, &byte_uart_1, &xHigherPriorityTaskWoken);
		HAL_UART_Receive_IT(huart, &byte_uart_1, 1);
	}
	if (huart->Instance == USART2)
	{
		xQueueSendToBackFromISR(messageHandlerQueue2Handle, &byte_uart_2, &xHigherPriorityTaskWoken);
		HAL_UART_Receive_IT(huart, &byte_uart_2, 1);
	}
	if (huart->Instance == USART3)
	{
		xQueueSendToBackFromISR(messageHandlerQueue3Handle, &byte_uart_3, &xHigherPriorityTaskWoken);
		HAL_UART_Receive_IT(huart, &byte_uart_3, 1);
	}
	portYIELD_FROM_ISR(xHigherPriorityTaskWoken);
}

uint8_t BSP_SD_ReadBlocks_DMA(uint32_t *pData, uint32_t ReadAddr, uint32_t NumOfBlocks)
{

  uint8_t sd_state = MSD_OK;
  HAL_DMA_Abort(&hdma_sdmmc1);
  HAL_DMA_Abort(&hdma_sdmmc1);

  /* Deinitialize the Channel for new transfer */
  HAL_DMA_DeInit(&hdma_sdmmc1);
  HAL_DMA_DeInit(&hdma_sdmmc1);

  HAL_DMA_Init(&hdma_sdmmc1);
  /* Read block(s) in DMA transfer mode */
  if (HAL_SD_ReadBlocks_DMA(&hsd1, (uint8_t *)pData, ReadAddr, NumOfBlocks) != HAL_OK)
  {
    sd_state = MSD_ERROR;
  }

  return sd_state;
}
uint8_t BSP_SD_WriteBlocks_DMA(uint32_t *pData, uint32_t WriteAddr, uint32_t NumOfBlocks)
{
  uint8_t sd_state = MSD_OK;
  uint32_t tickstart = HAL_GetTick();
  HAL_DMA_Abort(&hdma_sdmmc1);
  HAL_DMA_Abort(&hdma_sdmmc1);

  /* Deinitialize the Channel for new transfer */
  HAL_DMA_DeInit(&hdma_sdmmc1);
  HAL_DMA_DeInit(&hdma_sdmmc1);

  /* Configure the DMA Channel */
  HAL_DMA_Init(&hdma_sdmmc1);
  /* Write block(s) in DMA transfer mode */
  if (HAL_SD_WriteBlocks_DMA(&hsd1, (uint8_t *)pData, WriteAddr, NumOfBlocks) != HAL_OK)
  {
    sd_state = MSD_ERROR;
  }

  return sd_state;
}

/* USER CODE END 4 */

void StartMainTask(void *argument)
{
  /* USER CODE BEGIN 5 */
	uint8_t received;
	BaseType_t result;
	HAL_UART_Receive_IT(&huart1, &byte_uart_1, 1);
	HAL_UART_Receive_IT(&huart2, &byte_uart_2, 1);
	HAL_UART_Receive_IT(&huart3, &byte_uart_3, 1);
  /* Infinite loop */
  for(;;)
  {
	  while(uxQueueMessagesWaiting( messageHandlerQueue1Handle )){
		  result = xQueueReceive(messageHandlerQueue1Handle, &received, 10);
		  if(result == pdPASS){

		  }
	  }
	  while(uxQueueMessagesWaiting( messageHandlerQueue2Handle )){
		  result = xQueueReceive(messageHandlerQueue2Handle, &received, 10);
		  if(result == pdPASS){
			  printf("%c", received);
		  }
	  }
	  while(uxQueueMessagesWaiting( messageHandlerQueue3Handle )){
		  result = xQueueReceive(messageHandlerQueue3Handle, &received, 10);
		  if(result == pdPASS){
		    if(feed_nmea(received) == 0)
		    {
		    }
		  }
	  }
    taskENTER_CRITICAL();
    if(read_env_data() == 0)
    {

    }
    taskEXIT_CRITICAL();
    osDelay(100);
  }
  /* USER CODE END 5 */
}

void SaveFile(void *argument)
{
  /* USER CODE BEGIN SaveFile */
  uint8_t put_txt[128];
  ///init_sd();
  lora_init();

  /* Infinite loop */
  for(;;)
  {
	  size_t written = sprintf(&put_txt, "%ld, %d.%d, %d.%d, %d.%d, %d.%d, %ld, %d.%d, %d.%d, %d.%d \r\n",
			  gnss_data.recent_timestamp,
			  PSEUDO_FLOAT_PRINT(minmea_tofloat(&gnss_data.gga.latitude), 100),
			  PSEUDO_FLOAT_PRINT(minmea_tofloat(&gnss_data.gga.longitude), 100),
			  PSEUDO_FLOAT_PRINT(minmea_tofloat(&gnss_data.gga.altitude), 100),
			  PSEUDO_FLOAT_PRINT(minmea_tofloat(&gnss_data.gsa.hdop), 100),
			  env_data.timestamp,
			  PSEUDO_FLOAT_PRINT(env_data.temp, 100),
			  PSEUDO_FLOAT_PRINT(env_data.hum, 100),
			  PSEUDO_FLOAT_PRINT(env_data.press, 100));
    ///write_line(put_txt, written);
	for(int i = 0; i < written; i++){
		printf("%c", put_txt[i]);
	  lora_send("%c", put_txt[i]);
	}
    osDelay(1000);
  }
  /* USER CODE END SaveFile */
}

void DownLink(void *argument)
{
  /* USER CODE BEGIN DownLink */
  /* Infinite loop */
  for(;;)
  {
    osDelay(3000);
  }
  /* USER CODE END DownLink */
}

void HAL_TIM_PeriodElapsedCallback(TIM_HandleTypeDef *htim)
{
  if (htim->Instance == TIM6) {
    HAL_IncTick();
  }
}

void Error_Handler(void)
{
  __disable_irq();
  while (1)
  {
  }
}

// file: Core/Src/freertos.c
/* USER CODE BEGIN Header */
/**
  ******************************************************************************
  * File Name          : freertos.c
  * Description        : Code for freertos applications
  ******************************************************************************
  * @attention
  *
  * Copyright (c) 2024 STMicroelectronics.
  * All rights reserved.
  *
  * This software is licensed under terms that can be found in the LICENSE file
  * in the root directory of this software component.
  * If no LICENSE file comes with this software, it is provided AS-IS.
  *
  ******************************************************************************
  */
/* USER CODE END Header */

#include "FreeRTOS.h"
#include "task.h"
#include "main.h"
#include "cmsis_os.h"

/* Definitions for defaultTask */
osThreadId_t defaultTaskHandle;
const osThreadAttr_t defaultTask_attributes = {
  .name = "defaultTask",
  .stack_size = 128 * 4,
  .priority = (osPriority_t) osPriorityNormal,
};
/* Definitions for i2c1Sem */
osSemaphoreId_t i2c1SemHandle;
const osSemaphoreAttr_t i2c1Sem_attributes = {
  .name = "i2c1Sem"
};
/* Definitions for i2c2Sem */
osSemaphoreId_t i2c2SemHandle;
const osSemaphoreAttr_t i2c2Sem_attributes = {
  .name = "i2c2Sem"
};
/* Definitions for i2c3Sem */
osSemaphoreId_t i2c3SemHandle;
const osSemaphoreAttr_t i2c3Sem_attributes = {
  .name = "i2c3Sem"
};

void StartDefaultTask(void *argument);

void MX_FREERTOS_Init(void); /* (MISRA C 2004 rule 8.1) */

void MX_FREERTOS_Init(void) {

  /* Create the semaphores(s) */
  /* creation of i2c1Sem */
  i2c1SemHandle = osSemaphoreNew(1, 0, &i2c1Sem_attributes);

  /* creation of i2c2Sem */
  i2c2SemHandle = osSemaphoreNew(1, 0, &i2c2Sem_attributes);

  /* creation of i2c3Sem */
  i2c3SemHandle = osSemaphoreNew(1, 0, &i2c3Sem_attributes);

  /* Create the thread(s) */
  /* creation of defaultTask */
  defaultTaskHandle = osThreadNew(StartDefaultTask, NULL, &defaultTask_attributes);

}

void StartDefaultTask(void *argument)
{
  for(;;)
  {
    osDelay(1);
  }
}
